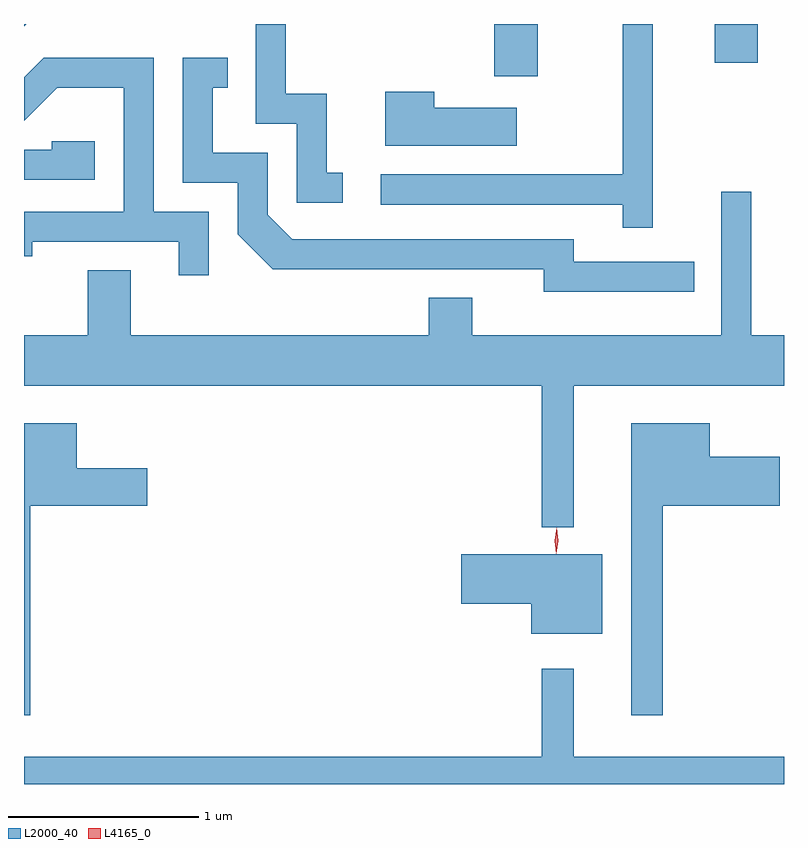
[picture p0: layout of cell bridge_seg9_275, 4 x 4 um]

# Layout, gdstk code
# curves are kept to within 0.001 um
import gdstk
lib = gdstk.Library(unit=1e-6, precision=1e-09)
def R(c, l, rs):  # rectangles x0, y0, x1, y1
    for r in rs: c.add(gdstk.rectangle(r[:2], r[2:], *l))
def P(c, l, *ps):  # polygons
    for p in ps: c.add(gdstk.Polygon(p, *l))
L2000_40 = (2000, 40)
L4165_0 = (4165, 0)

bridge_seg9_275 = lib.new_cell('bridge_seg9_275')
R(bridge_seg9_275, L2000_40, [(966.571,2017.866,966.799,2018.141), (967.731,2017.936,967.959,2018.141)])
P(bridge_seg9_275, L2000_40, [(965.773,2017.359),(965.689,2017.359),(965.689,2017.774),(965.474,2017.774),(965.474,2018.141),(965.316,2018.141),(965.316,2017.616),(965.531,2017.616),(965.531,2017.201),(965.773,2017.201)],
  [(964.107,2018.141),(964.096,2018.141),(964.096,2018.13)],
  [(967.404,2018.141),(967.246,2018.141),(967.246,2017.349),(965.973,2017.349),(965.973,2017.191),(967.246,2017.191),(967.246,2017.068),(967.404,2017.068)],
  [(965.069,2017.154),(964.779,2017.154),(964.779,2017.964),(964.199,2017.964),(964.096,2017.861),(964.096,2017.631),(964.272,2017.806),(964.621,2017.806),(964.621,2017.154),(964.096,2017.154),(964.096,2016.918),(964.139,2016.918),(964.139,2016.996),(964.911,2016.996),(964.911,2016.818),(965.069,2016.818)],
  [(967.623,2016.889),(966.989,2016.889),(966.989,2017.009),(965.507,2017.009),(965.379,2017.137),(965.379,2017.464),(965.089,2017.464),(965.089,2017.806),(965.168,2017.806),(965.168,2017.964),(964.931,2017.964),(964.931,2017.306),(965.221,2017.306),(965.221,2017.034),(965.404,2016.851),(966.831,2016.851),(966.831,2016.731),(967.623,2016.731)],
  [(966.689,2017.699),(966.254,2017.699),(966.254,2017.784),(965.996,2017.784),(965.996,2017.501),(966.689,2017.501)],
  [(964.469,2017.524),(964.241,2017.524),(964.241,2017.479),(964.096,2017.479),(964.096,2017.321),(964.469,2017.321)],
  [(966.989,2016.236),(968.096,2016.236),(968.096,2016.504),(967.924,2016.504),(967.924,2017.258),(967.766,2017.258),(967.766,2016.504),(966.454,2016.504),(966.454,2016.699),(966.226,2016.699),(966.226,2016.504),(964.659,2016.504),(964.659,2016.844),(964.431,2016.844),(964.431,2016.504),(964.096,2016.504),(964.096,2016.236),(966.821,2016.236),(966.821,2015.493),(966.989,2015.493)],
  [(964.129,2015.606),(964.744,2015.606),(964.744,2015.804),(964.374,2015.804),(964.374,2016.039),(964.096,2016.039),(964.096,2014.503),(964.129,2014.503)],
  [(967.459,2015.606),(968.074,2015.606),(968.074,2015.864),(967.704,2015.864),(967.704,2016.039),(967.291,2016.039),(967.291,2014.503),(967.459,2014.503)],
  [(967.139,2015.349),(966.396,2015.349),(966.396,2015.091),(966.766,2015.091),(966.766,2014.931),(967.139,2014.931)],
  [(968.096,2014.284),(966.989,2014.284),(966.989,2014.748),(966.821,2014.748),(966.821,2014.284),(964.096,2014.284),(964.096,2014.141),(968.096,2014.141)])
P(bridge_seg9_275, L4165_0, [(966.897,2015.354),(966.889,2015.422),(966.899,2015.49),(966.9,2015.49),(966.9,2015.49),(966.909,2015.422),(966.898,2015.354),(966.898,2015.354)],
  [(966.898,2015.36),(966.897,2015.361),(966.889,2015.424),(966.899,2015.486),(966.9,2015.487),(966.9,2015.486),(966.909,2015.423),(966.898,2015.361)])

lib.write_gds('bridge_seg9_275.gds')
